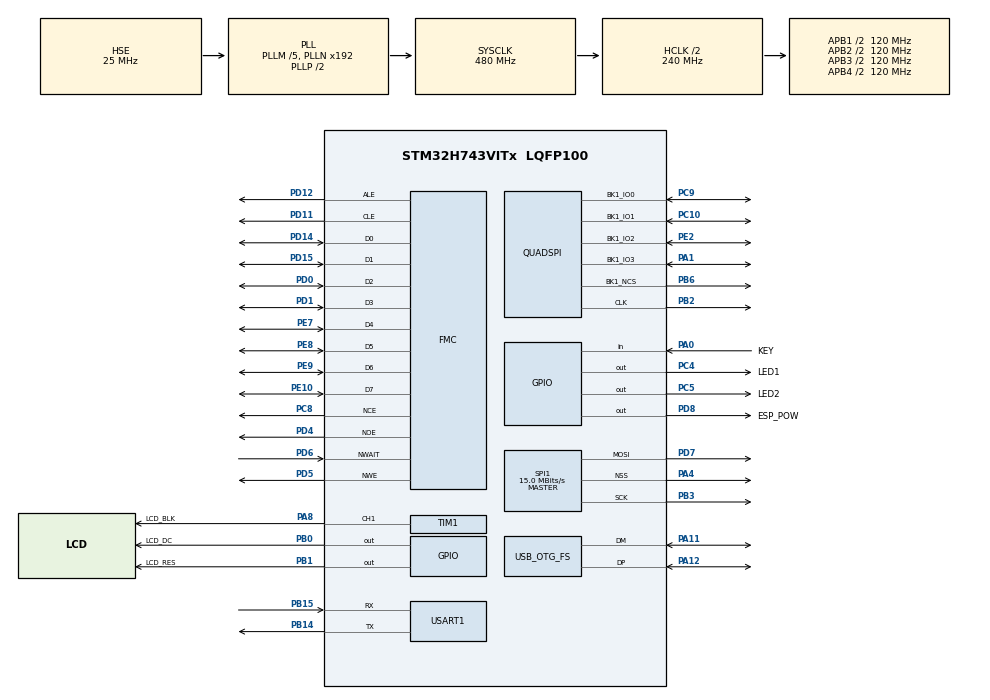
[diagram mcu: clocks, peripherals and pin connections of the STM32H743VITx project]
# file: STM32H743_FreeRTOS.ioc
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Dma.Request0=SPI1_TX
Dma.Request1=USART1_RX
Dma.Request2=USART1_TX
Dma.SPI1_TX.0.Direction=DMA_MEMORY_TO_PERIPH
Dma.SPI1_TX.0.EventEnable=DISABLE
Dma.SPI1_TX.0.FIFOMode=DMA_FIFOMODE_DISABLE
Dma.SPI1_TX.0.Instance=DMA1_Stream0
Dma.SPI1_TX.0.MemDataAlignment=DMA_MDATAALIGN_HALFWORD
Dma.SPI1_TX.0.MemInc=DMA_MINC_ENABLE
Dma.SPI1_TX.0.Mode=DMA_NORMAL
Dma.SPI1_TX.0.PeriphDataAlignment=DMA_PDATAALIGN_HALFWORD
Dma.SPI1_TX.0.PeriphInc=DMA_PINC_DISABLE
Dma.SPI1_TX.0.Polarity=HAL_DMAMUX_REQ_GEN_RISING
Dma.SPI1_TX.0.Priority=DMA_PRIORITY_LOW
Dma.SPI1_TX.0.RequestNumber=1
Dma.SPI1_TX.0.SignalID=NONE
Dma.SPI1_TX.0.SyncEnable=DISABLE
Dma.SPI1_TX.0.SyncPolarity=HAL_DMAMUX_SYNC_NO_EVENT
Dma.SPI1_TX.0.SyncRequestNumber=1
Dma.SPI1_TX.0.SyncSignalID=NONE
Dma.USART1_RX.1.Direction=DMA_PERIPH_TO_MEMORY
Dma.USART1_RX.1.EventEnable=DISABLE
Dma.USART1_RX.1.FIFOMode=DMA_FIFOMODE_DISABLE
Dma.USART1_RX.1.Instance=DMA1_Stream1
Dma.USART1_RX.1.MemDataAlignment=DMA_MDATAALIGN_BYTE
Dma.USART1_RX.1.MemInc=DMA_MINC_ENABLE
Dma.USART1_RX.1.Mode=DMA_CIRCULAR
Dma.USART1_RX.1.PeriphDataAlignment=DMA_PDATAALIGN_BYTE
Dma.USART1_RX.1.PeriphInc=DMA_PINC_DISABLE
Dma.USART1_RX.1.Polarity=HAL_DMAMUX_REQ_GEN_RISING
Dma.USART1_RX.1.Priority=DMA_PRIORITY_VERY_HIGH
Dma.USART1_RX.1.RequestNumber=1
Dma.USART1_RX.1.SignalID=NONE
Dma.USART1_RX.1.SyncEnable=DISABLE
Dma.USART1_RX.1.SyncPolarity=HAL_DMAMUX_SYNC_NO_EVENT
Dma.USART1_RX.1.SyncRequestNumber=1
Dma.USART1_RX.1.SyncSignalID=NONE
Dma.USART1_TX.2.Direction=DMA_MEMORY_TO_PERIPH
Dma.USART1_TX.2.EventEnable=DISABLE
Dma.USART1_TX.2.FIFOMode=DMA_FIFOMODE_DISABLE
Dma.USART1_TX.2.Instance=DMA1_Stream2
Dma.USART1_TX.2.MemDataAlignment=DMA_MDATAALIGN_BYTE
Dma.USART1_TX.2.MemInc=DMA_MINC_ENABLE
Dma.USART1_TX.2.Mode=DMA_NORMAL
Dma.USART1_TX.2.PeriphDataAlignment=DMA_PDATAALIGN_BYTE
Dma.USART1_TX.2.PeriphInc=DMA_PINC_DISABLE
Dma.USART1_TX.2.Polarity=HAL_DMAMUX_REQ_GEN_RISING
Dma.USART1_TX.2.Priority=DMA_PRIORITY_VERY_HIGH
Dma.USART1_TX.2.RequestNumber=1
Dma.USART1_TX.2.SignalID=NONE
Dma.USART1_TX.2.SyncEnable=DISABLE
Dma.USART1_TX.2.SyncPolarity=HAL_DMAMUX_SYNC_NO_EVENT
Dma.USART1_TX.2.SyncRequestNumber=1
Dma.USART1_TX.2.SyncSignalID=NONE
FMC.AttributeSpaceHiZSetupTime1=2
FMC.AttributeSpaceHoldSetupTime1=3
FMC.AttributeSpaceSetupTime1=2
FMC.AttributeSpaceWaitSetupTime1=4
FMC.CommonSpaceHiZSetupTime1=2
FMC.CommonSpaceHoldSetupTime1=3
FMC.CommonSpaceSetupTime1=2
FMC.CommonSpaceWaitSetupTime1=4
FMC.ECCPageSize1=FMC_NAND_ECC_PAGE_SIZE_2048BYTE
FMC.NandBlockNbr1=2048
FMC.NandBlockSize1=2048*64
FMC.NandPageSize1=2048+64
FMC.NandPlaneNbr1=2
FMC.NandPlaneSize1=4096
FMC.NandSpareAreaSize1=64
FREERTOS.BinarySemaphores01=Key_Binary_Sem,Dynamic,NULL;Network_BinarySem,Dynamic,NULL;LCD_BinarySem,Dynamic,NULL
FREERTOS.INCLUDE_vTaskDelayUntil=1
FREERTOS.Mutexes01=Uart_Mutex,Dynamic,NULL
FREERTOS.Tasks01=defaultTask,0,128,StartDefaultTask,Default,NULL,Dynamic,NULL,NULL;KEY_Task,1,256,Start_KEY_Task,Default,NULL,Dynamic,NULL,NULL;LCD_Task,0,1024,Start_LCD_Task,Default,NULL,Dynamic,NULL,NULL;Network_Task,-3,512,Start_Network_Task,Default,NULL,Dynamic,NULL,NULL
FREERTOS.configCHECK_FOR_STACK_OVERFLOW=1
FREERTOS.configGENERATE_RUN_TIME_STATS=1
FREERTOS.configMAX_PRIORITIES=7
FREERTOS.configMINIMAL_STACK_SIZE=128
FREERTOS.configUSE_STATS_FORMATTING_FUNCTIONS=1
FREERTOS.configUSE_TIMERS=1
FREERTOS.configUSE_TRACE_FACILITY=1
Mcu.Family=STM32H7
Mcu.Name=STM32H743VITx
Mcu.Package=LQFP100
Mdma.MDMA_Channel1.QUADSPI_FIFO_TH.0.BlockCount=0
Mdma.MDMA_Channel1.QUADSPI_FIFO_TH.0.BlockDataLength=0
Mdma.MDMA_Channel1.QUADSPI_FIFO_TH.0.BufferTransferLength=128
Mdma.MDMA_Channel1.QUADSPI_FIFO_TH.0.CircularMode=MDMA_LINEAR_LIST
Mdma.MDMA_Channel1.QUADSPI_FIFO_TH.0.DataAlignment=MDMA_DATAALIGN_PACKENABLE
Mdma.MDMA_Channel1.QUADSPI_FIFO_TH.0.DestBlockAddressOffset=0
Mdma.MDMA_Channel1.QUADSPI_FIFO_TH.0.DestBurst=MDMA_DEST_BURST_SINGLE
Mdma.MDMA_Channel1.QUADSPI_FIFO_TH.0.DestDataSize=MDMA_DEST_DATASIZE_BYTE
Mdma.MDMA_Channel1.QUADSPI_FIFO_TH.0.DestinationInc=MDMA_DEST_INC_DISABLE
Mdma.MDMA_Channel1.QUADSPI_FIFO_TH.0.DstAddress=0
Mdma.MDMA_Channel1.QUADSPI_FIFO_TH.0.Endianness=MDMA_LITTLE_ENDIANNESS_PRESERVE
Mdma.MDMA_Channel1.QUADSPI_FIFO_TH.0.Instance=MDMA_Channel1
Mdma.MDMA_Channel1.QUADSPI_FIFO_TH.0.MaskAddress=0
Mdma.MDMA_Channel1.QUADSPI_FIFO_TH.0.MaskData=0
Mdma.MDMA_Channel1.QUADSPI_FIFO_TH.0.Priority=MDMA_PRIORITY_LOW
Mdma.MDMA_Channel1.QUADSPI_FIFO_TH.0.Rank=First
Mdma.MDMA_Channel1.QUADSPI_FIFO_TH.0.SourceBlockAddressOffset=0
Mdma.MDMA_Channel1.QUADSPI_FIFO_TH.0.SourceBurst=MDMA_SOURCE_BURST_SINGLE
Mdma.MDMA_Channel1.QUADSPI_FIFO_TH.0.SourceDataSize=MDMA_SRC_DATASIZE_BYTE
Mdma.MDMA_Channel1.QUADSPI_FIFO_TH.0.SourceInc=MDMA_SRC_INC_BYTE
Mdma.MDMA_Channel1.QUADSPI_FIFO_TH.0.SrcAddress=0
Mdma.MDMA_Channel1.QUADSPI_FIFO_TH.0.TransferTriggerMode=MDMA_BUFFER_TRANSFER
Mdma.MDMA_Channel1.Request0=QUADSPI_FIFO_TH
Mdma.MDMA_Channel1.RequestsNb=1
Mdma.RequestSet0=MDMA_Channel1
Mdma.RequestSetsNb=1
NVIC.DMA1_Stream0_IRQn=true\:5\:0\:false\:false\:true\:true\:false\:true\:true
NVIC.DMA1_Stream1_IRQn=true\:5\:0\:false\:false\:true\:true\:false\:true\:true
NVIC.DMA1_Stream2_IRQn=true\:5\:0\:false\:false\:true\:true\:false\:true\:true
NVIC.MDMA_IRQn=true\:5\:0\:false\:false\:true\:true\:false\:true\:true
NVIC.OTG_FS_IRQn=true\:5\:0\:false\:false\:true\:true\:true\:true\:true
NVIC.PriorityGroup=NVIC_PRIORITYGROUP_4
NVIC.QUADSPI_IRQn=true\:5\:0\:false\:false\:true\:true\:true\:true\:true
NVIC.SPI1_IRQn=true\:5\:0\:false\:false\:true\:true\:true\:true\:true
NVIC.TIM17_IRQn=true\:15\:0\:false\:false\:true\:false\:false\:true\:true
NVIC.TIM8_TRG_COM_TIM14_IRQn=true\:5\:0\:true\:false\:true\:true\:true\:true\:true
NVIC.TIM8_UP_TIM13_IRQn=true\:5\:0\:false\:false\:true\:true\:true\:true\:true
NVIC.TimeBase=TIM17_IRQn
NVIC.TimeBaseIP=TIM17
NVIC.USART1_IRQn=true\:5\:0\:false\:false\:true\:true\:true\:true\:true
PA0.GPIO_Label=KEY
PA0.GPIO_PuPd=GPIO_PULLDOWN
PA0.Signal=GPIO_Input
PA1.GPIO_Speed=GPIO_SPEED_FREQ_VERY_HIGH
PA1.Mode=Single Bank 1
PA1.Signal=QUADSPI_BK1_IO3
PA11.Mode=Device_Only
PA11.Signal=USB_OTG_FS_DM
PA12.Mode=Device_Only
PA12.Signal=USB_OTG_FS_DP
PA13\ (JTMS/SWDIO).Mode=Serial_Wire
PA13\ (JTMS/SWDIO).Signal=DEBUG_JTMS-SWDIO
PA14\ (JTCK/SWCLK).Mode=Serial_Wire
PA14\ (JTCK/SWCLK).Signal=DEBUG_JTCK-SWCLK
PA4.GPIO_Speed=GPIO_SPEED_FREQ_VERY_HIGH
PA4.Mode=NSS_Signal_Hard_Output
PA4.Signal=SPI1_NSS
PA8.GPIO_Label=LCD_BLK
PA8.Signal=S_TIM1_CH1
PB0.GPIO_Label=LCD_DC
PB0.GPIO_Speed=GPIO_SPEED_FREQ_VERY_HIGH
PB0.Signal=GPIO_Output
PB1.GPIO_Label=LCD_RES
PB1.GPIO_Speed=GPIO_SPEED_FREQ_VERY_HIGH
PB1.Signal=GPIO_Output
PB14.Mode=Asynchronous
PB14.Signal=USART1_TX
PB15.GPIO_PuPd=GPIO_PULLUP
PB15.Mode=Asynchronous
PB15.Signal=USART1_RX
PB2.GPIO_Speed=GPIO_SPEED_FREQ_VERY_HIGH
PB2.Mode=Single Bank 1
PB2.Signal=QUADSPI_CLK
PB3\ (JTDO/TRACESWO).GPIO_Speed=GPIO_SPEED_FREQ_VERY_HIGH
PB3\ (JTDO/TRACESWO).Mode=TX_Only_Simplex_Unidirect_Master
PB3\ (JTDO/TRACESWO).Signal=SPI1_SCK
PB6.GPIO_Speed=GPIO_SPEED_FREQ_VERY_HIGH
PB6.Mode=Single Bank 1
PB6.Signal=QUADSPI_BK1_NCS
PC10.GPIO_Speed=GPIO_SPEED_FREQ_VERY_HIGH
PC10.Mode=Single Bank 1
PC10.Signal=QUADSPI_BK1_IO1
PC14-OSC32_IN\ (OSC32_IN).Mode=LSE-External-Oscillator
PC14-OSC32_IN\ (OSC32_IN).Signal=RCC_OSC32_IN
PC15-OSC32_OUT\ (OSC32_OUT).Mode=LSE-External-Oscillator
PC15-OSC32_OUT\ (OSC32_OUT).Signal=RCC_OSC32_OUT
PC4.GPIO_Label=LED1
PC4.GPIO_PuPd=GPIO_PULLUP
PC4.PinState=GPIO_PIN_SET
PC4.Signal=GPIO_Output
PC5.GPIO_Label=LED2
PC5.GPIO_PuPd=GPIO_PULLUP
PC5.PinState=GPIO_PIN_SET
PC5.Signal=GPIO_Output
PC8.Mode=NandChipSelect3_1
PC8.Signal=FMC_NCE
PC9.GPIO_PuPd=GPIO_NOPULL
PC9.GPIO_Speed=GPIO_SPEED_FREQ_VERY_HIGH
PC9.Mode=Single Bank 1
PC9.Signal=QUADSPI_BK1_IO0
PD0.Signal=FMC_D2_DA2
PD1.Signal=FMC_D3_DA3
PD11.Signal=FMC_A16_CLE
PD12.Signal=FMC_A17_ALE
PD14.Signal=FMC_D0_DA0
PD15.Signal=FMC_D1_DA1
PD4.Signal=FMC_NOE
PD5.Signal=FMC_NWE
PD6.GPIO_PuPd=GPIO_PULLUP
PD6.Signal=FMC_NWAIT
PD7.GPIO_Speed=GPIO_SPEED_FREQ_VERY_HIGH
PD7.Mode=TX_Only_Simplex_Unidirect_Master
PD7.Signal=SPI1_MOSI
PD8.GPIO_Label=ESP_POW
PD8.GPIO_PuPd=GPIO_PULLDOWN
PD8.Signal=GPIO_Output
PE10.Signal=FMC_D7_DA7
PE2.GPIO_Speed=GPIO_SPEED_FREQ_VERY_HIGH
PE2.Mode=Single Bank 1
PE2.Signal=QUADSPI_BK1_IO2
PE7.Signal=FMC_D4_DA4
PE8.Signal=FMC_D5_DA5
PE9.Signal=FMC_D6_DA6
PH0-OSC_IN\ (PH0).Mode=HSE-External-Oscillator
PH0-OSC_IN\ (PH0).Signal=RCC_OSC_IN
PH1-OSC_OUT\ (PH1).Mode=HSE-External-Oscillator
PH1-OSC_OUT\ (PH1).Signal=RCC_OSC_OUT
ProjectManager.HeapSize=0x200
ProjectManager.StackSize=0x1000
ProjectManager.TargetToolchain=MDK-ARM V5.32
QUADSPI.ChipSelectHighTime=QSPI_CS_HIGH_TIME_2_CYCLE
QUADSPI.ClockPrescaler=2-1
QUADSPI.FifoThreshold=32
QUADSPI.FlashSize=23+1
QUADSPI.SampleShifting=QSPI_SAMPLE_SHIFTING_HALFCYCLE
RCC.ADCFreq_Value=120000000
RCC.APB1Freq_Value=120000000
RCC.APB2Freq_Value=120000000
RCC.APB3Freq_Value=120000000
RCC.APB4Freq_Value=120000000
RCC.CortexFreq_Value=480000000
RCC.D1PPRE=RCC_APB3_DIV2
RCC.D2PPRE1=RCC_APB1_DIV2
RCC.D2PPRE2=RCC_APB2_DIV2
RCC.D3PPRE=RCC_APB4_DIV2
RCC.DIVM1=5
RCC.DIVM2=5
RCC.DIVM3=25
RCC.DIVN1=192
RCC.DIVN2=48
RCC.DIVN3=240
RCC.DIVQ1=5
RCC.DIVQ3=5
RCC.DIVR1=5
RCC.HCLKFreq_Value=240000000
RCC.HPRE=RCC_HCLK_DIV2
RCC.PLL2FRACN=0
RCC.PLL3FRACN=0
RCC.PLLFRACN=0
RCC.PLLSourceVirtual=RCC_PLLSOURCE_HSE
RCC.QSPICLockSelection=RCC_QSPICLKSOURCE_PLL
RCC.SPI123CLockSelection=RCC_SPI123CLKSOURCE_PLL2
RCC.SYSCLKFreq_VALUE=480000000
RCC.SYSCLKSource=RCC_SYSCLKSOURCE_PLLCLK
RCC.USBCLockSelection=RCC_USBCLKSOURCE_PLL3
RCC.USBFreq_Value=48000000
SH.FMC_A16_CLE.0=FMC_CLE,8b-dmux1
SH.FMC_A17_ALE.0=FMC_ALE,8b-dmux1
SH.FMC_D0_DA0.0=FMC_D0,8b-dmux1
SH.FMC_D1_DA1.0=FMC_D1,8b-dmux1
SH.FMC_D2_DA2.0=FMC_D2,8b-dmux1
SH.FMC_D3_DA3.0=FMC_D3,8b-dmux1
SH.FMC_D4_DA4.0=FMC_D4,8b-dmux1
SH.FMC_D5_DA5.0=FMC_D5,8b-dmux1
SH.FMC_D6_DA6.0=FMC_D6,8b-dmux1
SH.FMC_D7_DA7.0=FMC_D7,8b-dmux1
SH.FMC_NOE.0=FMC_NOE,8b-dmux1
SH.FMC_NWAIT.0=FMC_NWAIT,Wait1
SH.FMC_NWE.0=FMC_NWE,8b-dmux1
SH.S_TIM1_CH1.0=TIM1_CH1,PWM Generation1 CH1
SPI1.BaudRatePrescaler=SPI_BAUDRATEPRESCALER_8
SPI1.CalculateBaudRate=15.0 MBits/s
SPI1.DataSize=SPI_DATASIZE_8BIT
SPI1.Direction=SPI_DIRECTION_2LINES_TXONLY
SPI1.Mode=SPI_MODE_MASTER
SPI1.VirtualNSS=VM_NSSHARD
SPI1.VirtualType=VM_MASTER
TIM1.Channel-PWM\ Generation1\ CH1=TIM_CHANNEL_1
TIM1.Period=1000-1
TIM1.Prescaler=24-1
TIM13.Period=5000-1
TIM13.Prescaler=240-1
TIM14.AutoReloadPreload=TIM_AUTORELOAD_PRELOAD_ENABLE
TIM14.Period=2400-1
TIM14.Prescaler=5-1
USART1.VirtualMode-Asynchronous=VM_ASYNC
USB_OTG_FS.VirtualMode=Device_Only
VP_FREERTOS_VS_CMSIS_V1.Mode=CMSIS_V1
VP_SYS_VS_tim17.Mode=TIM17
VP_TIM13_VS_ClockSourceINT.Mode=Enable_Timer
VP_TIM14_VS_ClockSourceINT.Mode=Enable_Timer
VP_TIM1_VS_ClockSourceINT.Mode=Internal
board=custom

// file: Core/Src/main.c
/* USER CODE BEGIN Header */
/**
  ******************************************************************************
  * @file           : main.c
  * @brief          : Main program body
  ******************************************************************************
  * @attention
  *
  * Copyright (c) 2022 STMicroelectronics.
  * All rights reserved.
  *
  * This software is licensed under terms that can be found in the LICENSE file
  * in the root directory of this software component.
  * If no LICENSE file comes with this software, it is provided AS-IS.
  *
  ******************************************************************************
  */
/* USER CODE END Header */
#include "main.h"
#include "cmsis_os.h"
#include "dma.h"
#include "mdma.h"
#include "quadspi.h"
#include "spi.h"
#include "tim.h"
#include "usart.h"
#include "usb_otg.h"
#include "gpio.h"
#include "fmc.h"

/* USER CODE BEGIN Includes */
#include "st7735s.h"
#include "Bsp_ESP8266.h"
/* USER CODE END Includes */

void SystemClock_Config(void);
void MX_FREERTOS_Init(void);

int main(void)
{
  /* USER CODE BEGIN 1 */
  /*设置中断偏移*/
 // SCB->VTOR = FLASH_BASE | 0x100000;

  /* USER CODE END 1 */

  /* MCU Configuration--------------------------------------------------------*/

  /* Reset of all peripherals, Initializes the Flash interface and the Systick. */
  HAL_Init();

  /* Configure the system clock */
  SystemClock_Config();

  /* Initialize all configured peripherals */
  MX_GPIO_Init();
  MX_DMA_Init();
  MX_USART1_UART_Init();
  MX_QUADSPI_Init();
  MX_MDMA_Init();
  MX_SPI1_Init();
  MX_USB_OTG_FS_PCD_Init();
  MX_FMC_Init();
  MX_TIM14_Init();
  MX_TIM1_Init();
  MX_TIM13_Init();
  /* USER CODE BEGIN 2 */
  /*MCU系统占用率*/
  HAL_TIM_Base_Start_IT(&htim14);

  /*打开网络超时定时器*/
  HAL_TIM_Base_Start_IT(&htim13);

  //LCD初始化
  LCD_Init();

  /* USER CODE END 2 */

  /* Call init function for freertos objects (in freertos.c) */
  MX_FREERTOS_Init();

  /* Start scheduler */
  osKernelStart();

  /* We should never get here as control is now taken by the scheduler */
  /* Infinite loop */
  while (1)
  {

  }
}

void SystemClock_Config(void)
{
  RCC_OscInitTypeDef RCC_OscInitStruct = {0};
  RCC_ClkInitTypeDef RCC_ClkInitStruct = {0};

  /** Supply configuration update enable
  */
  HAL_PWREx_ConfigSupply(PWR_LDO_SUPPLY);

  /** Configure the main internal regulator output voltage
  */
  __HAL_PWR_VOLTAGESCALING_CONFIG(PWR_REGULATOR_VOLTAGE_SCALE0);

  while(!__HAL_PWR_GET_FLAG(PWR_FLAG_VOSRDY)) {}

  /** Macro to configure the PLL clock source
  */
  __HAL_RCC_PLL_PLLSOURCE_CONFIG(RCC_PLLSOURCE_HSE);

  /** Initializes the RCC Oscillators according to the specified parameters
  * in the RCC_OscInitTypeDef structure.
  */
  RCC_OscInitStruct.OscillatorType = RCC_OSCILLATORTYPE_HSE;
  RCC_OscInitStruct.HSEState = RCC_HSE_ON;
  RCC_OscInitStruct.PLL.PLLState = RCC_PLL_ON;
  RCC_OscInitStruct.PLL.PLLSource = RCC_PLLSOURCE_HSE;
  RCC_OscInitStruct.PLL.PLLM = 5;
  RCC_OscInitStruct.PLL.PLLN = 192;
  RCC_OscInitStruct.PLL.PLLP = 2;
  RCC_OscInitStruct.PLL.PLLQ = 5;
  RCC_OscInitStruct.PLL.PLLR = 5;
  RCC_OscInitStruct.PLL.PLLRGE = RCC_PLL1VCIRANGE_2;
  RCC_OscInitStruct.PLL.PLLVCOSEL = RCC_PLL1VCOWIDE;
  RCC_OscInitStruct.PLL.PLLFRACN = 0;
  if (HAL_RCC_OscConfig(&RCC_OscInitStruct) != HAL_OK)
  {
    Error_Handler();
  }

  /** Initializes the CPU, AHB and APB buses clocks
  */
  RCC_ClkInitStruct.ClockType = RCC_CLOCKTYPE_HCLK|RCC_CLOCKTYPE_SYSCLK
                              |RCC_CLOCKTYPE_PCLK1|RCC_CLOCKTYPE_PCLK2
                              |RCC_CLOCKTYPE_D3PCLK1|RCC_CLOCKTYPE_D1PCLK1;
  RCC_ClkInitStruct.SYSCLKSource = RCC_SYSCLKSOURCE_PLLCLK;
  RCC_ClkInitStruct.SYSCLKDivider = RCC_SYSCLK_DIV1;
  RCC_ClkInitStruct.AHBCLKDivider = RCC_HCLK_DIV2;
  RCC_ClkInitStruct.APB3CLKDivider = RCC_APB3_DIV2;
  RCC_ClkInitStruct.APB1CLKDivider = RCC_APB1_DIV2;
  RCC_ClkInitStruct.APB2CLKDivider = RCC_APB2_DIV2;
  RCC_ClkInitStruct.APB4CLKDivider = RCC_APB4_DIV2;

  if (HAL_RCC_ClockConfig(&RCC_ClkInitStruct, FLASH_LATENCY_4) != HAL_OK)
  {
    Error_Handler();
  }
}

/* USER CODE BEGIN 4 */
extern volatile uint32_t ulHighFrequencyTimerTicks;
/* USER CODE END 4 */

void HAL_TIM_PeriodElapsedCallback(TIM_HandleTypeDef *htim)
{
  if (htim->Instance == TIM17) {
    HAL_IncTick();
  }
  /* USER CODE BEGIN Callback 1 */
  if (htim->Instance == TIM14)
  {
    ulHighFrequencyTimerTicks++;
  }
  if(htim->Instance == TIM13)
  {
    Bsp_ESP8266_Timer();
  }
  /* USER CODE END Callback 1 */
}

void Error_Handler(void)
{
  __disable_irq();
  while (1)
  {
  }
}

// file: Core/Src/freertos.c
/* USER CODE BEGIN Header */
/**
 ******************************************************************************
 * File Name          : freertos.c
 * Description        : Code for freertos applications
 ******************************************************************************
 * @attention
 *
 * Copyright (c) 2022 STMicroelectronics.
 * All rights reserved.
 *
 * This software is licensed under terms that can be found in the LICENSE file
 * in the root directory of this software component.
 * If no LICENSE file comes with this software, it is provided AS-IS.
 *
 ******************************************************************************
 */
/* USER CODE END Header */

#include "FreeRTOS.h"
#include "task.h"
#include "main.h"
#include "cmsis_os.h"

/* USER CODE BEGIN Includes */
#include "LCD_Task.h"
#include "KEY_Task.h"
#include "Network_Task.h"
/* USER CODE END Includes */

osThreadId defaultTaskHandle;
osThreadId KEY_TaskHandle;
osThreadId LCD_TaskHandle;
osThreadId Network_TaskHandle;
osMutexId Uart_MutexHandle;
osSemaphoreId Key_Binary_SemHandle;
osSemaphoreId Network_BinarySemHandle;
osSemaphoreId LCD_BinarySemHandle;

void StartDefaultTask(void const * argument);
void Start_KEY_Task(void const * argument);
void Start_LCD_Task(void const * argument);
void Start_Network_Task(void const * argument);

void MX_FREERTOS_Init(void); /* (MISRA C 2004 rule 8.1) */

/* GetIdleTaskMemory prototype (linked to static allocation support) */
void vApplicationGetIdleTaskMemory( StaticTask_t **ppxIdleTaskTCBBuffer, StackType_t **ppxIdleTaskStackBuffer, uint32_t *pulIdleTaskStackSize );

/* GetTimerTaskMemory prototype (linked to static allocation support) */
void vApplicationGetTimerTaskMemory( StaticTask_t **ppxTimerTaskTCBBuffer, StackType_t **ppxTimerTaskStackBuffer, uint32_t *pulTimerTaskStackSize );

/* Hook prototypes */
void configureTimerForRunTimeStats(void);
unsigned long getRunTimeCounterValue(void);
void vApplicationStackOverflowHook(xTaskHandle xTask, signed char *pcTaskName);

/* USER CODE BEGIN 1 */
/* Functions needed when configGENERATE_RUN_TIME_STATS is on */
#if (configGENERATE_RUN_TIME_STATS == 1)
volatile uint32_t ulHighFrequencyTimerTicks;
#endif

__weak void configureTimerForRunTimeStats(void)
{
#if (configGENERATE_RUN_TIME_STATS == 1)
  ulHighFrequencyTimerTicks = 0;
#endif
}

__weak unsigned long getRunTimeCounterValue(void)
{
#if (configGENERATE_RUN_TIME_STATS == 1)
  return ulHighFrequencyTimerTicks;
#else
  return 0;
#endif
}
/* USER CODE END 1 */

/* USER CODE BEGIN 4 */
__weak void vApplicationStackOverflowHook(xTaskHandle xTask, signed char *pcTaskName)
{
  /* Run time stack overflow checking is performed if
  configCHECK_FOR_STACK_OVERFLOW is defined to 1 or 2. This hook function is
  called if a stack overflow is detected. */

  uint8_t Buff[50] = "Task:";
  strcat((char *)Buff, (char *)pcTaskName);
  strcat((char *)Buff, " Stack is overflow!\r\n");

  Bsp_UART_Write(&huart1, Buff, sizeof(Buff));
  Bsp_UART_Poll_DMA_TX(&huart1);
}
/* USER CODE END 4 */

/* USER CODE BEGIN GET_IDLE_TASK_MEMORY */
static StaticTask_t xIdleTaskTCBBuffer;
static StackType_t xIdleStack[configMINIMAL_STACK_SIZE];

void vApplicationGetIdleTaskMemory(StaticTask_t **ppxIdleTaskTCBBuffer, StackType_t **ppxIdleTaskStackBuffer, uint32_t *pulIdleTaskStackSize)
{
  *ppxIdleTaskTCBBuffer = &xIdleTaskTCBBuffer;
  *ppxIdleTaskStackBuffer = &xIdleStack[0];
  *pulIdleTaskStackSize = configMINIMAL_STACK_SIZE;
  /* place for user code */
}
/* USER CODE END GET_IDLE_TASK_MEMORY */

/* USER CODE BEGIN GET_TIMER_TASK_MEMORY */
static StaticTask_t xTimerTaskTCBBuffer;
static StackType_t xTimerStack[configTIMER_TASK_STACK_DEPTH];

void vApplicationGetTimerTaskMemory(StaticTask_t **ppxTimerTaskTCBBuffer, StackType_t **ppxTimerTaskStackBuffer, uint32_t *pulTimerTaskStackSize)
{
  *ppxTimerTaskTCBBuffer = &xTimerTaskTCBBuffer;
  *ppxTimerTaskStackBuffer = &xTimerStack[0];
  *pulTimerTaskStackSize = configTIMER_TASK_STACK_DEPTH;
  /* place for user code */
}
/* USER CODE END GET_TIMER_TASK_MEMORY */

void MX_FREERTOS_Init(void) {
  /* Create the mutex(es) */
  /* definition and creation of Uart_Mutex */
  osMutexDef(Uart_Mutex);
  Uart_MutexHandle = osMutexCreate(osMutex(Uart_Mutex));

  /* Create the semaphores(s) */
  /* definition and creation of Key_Binary_Sem */
  osSemaphoreDef(Key_Binary_Sem);
  Key_Binary_SemHandle = osSemaphoreCreate(osSemaphore(Key_Binary_Sem), 1);

  /* definition and creation of Network_BinarySem */
  osSemaphoreDef(Network_BinarySem);
  Network_BinarySemHandle = osSemaphoreCreate(osSemaphore(Network_BinarySem), 1);

  /* definition and creation of LCD_BinarySem */
  osSemaphoreDef(LCD_BinarySem);
  LCD_BinarySemHandle = osSemaphoreCreate(osSemaphore(LCD_BinarySem), 1);

  /* Create the thread(s) */
  /* definition and creation of defaultTask */
  osThreadDef(defaultTask, StartDefaultTask, osPriorityNormal, 0, 128);
  defaultTaskHandle = osThreadCreate(osThread(defaultTask), NULL);

  /* definition and creation of KEY_Task */
  osThreadDef(KEY_Task, Start_KEY_Task, osPriorityAboveNormal, 0, 256);
  KEY_TaskHandle = osThreadCreate(osThread(KEY_Task), NULL);

  /* definition and creation of LCD_Task */
  osThreadDef(LCD_Task, Start_LCD_Task, osPriorityAboveNormal, 0, 2048);
  LCD_TaskHandle = osThreadCreate(osThread(LCD_Task), NULL);

  /* definition and creation of Network_Task */
  osThreadDef(Network_Task, Start_Network_Task, osPriorityIdle, 0, 512);
  Network_TaskHandle = osThreadCreate(osThread(Network_Task), NULL);

}

void StartDefaultTask(void const * argument)
{
  /* USER CODE BEGIN StartDefaultTask */
  /* Infinite loop */
  for (;;)
  {
    HAL_GPIO_TogglePin(LED1_GPIO_Port, LED1_Pin);
    osDelay(800);
  }
  /* USER CODE END StartDefaultTask */
}

void Start_KEY_Task(void const * argument)
{
  /* USER CODE BEGIN Start_KEY_Task */

  /* Infinite loop */
  KEY_Task(argument);

  /* USER CODE END Start_KEY_Task */
}

void Start_LCD_Task(void const * argument)
{
  /* USER CODE BEGIN Start_LCD_Task */

  /* Infinite loop */
  LCD_Task(argument);

  /* USER CODE END Start_LCD_Task */
}

void Start_Network_Task(void const * argument)
{
  /* USER CODE BEGIN Start_Network_Task */
  /* Infinite loop */
    Network_Task(argument);
  /* USER CODE END Start_Network_Task */
}
